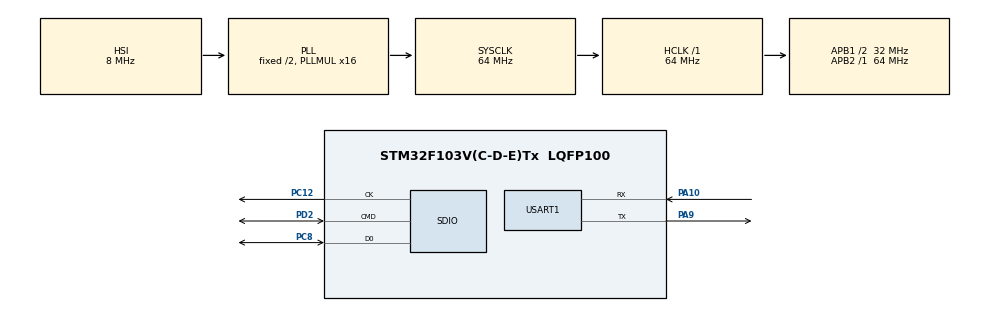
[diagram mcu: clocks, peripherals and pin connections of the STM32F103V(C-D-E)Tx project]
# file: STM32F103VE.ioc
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FREERTOS.Tasks01=defaultTask,0,128,StartDefaultTask,Default,NULL,Dynamic,NULL,NULL
FREERTOS.configTOTAL_HEAP_SIZE=61440
Mcu.Family=STM32F1
Mcu.Name=STM32F103V(C-D-E)Tx
Mcu.Package=LQFP100
NVIC.PriorityGroup=NVIC_PRIORITYGROUP_4
PA10.Mode=Asynchronous
PA10.Signal=USART1_RX
PA13.Mode=Serial_Wire
PA13.Signal=SYS_JTMS-SWDIO
PA14.Mode=Serial_Wire
PA14.Signal=SYS_JTCK-SWCLK
PA9.Mode=Asynchronous
PA9.Signal=USART1_TX
PC12.Mode=SD_1_bit
PC12.Signal=SDIO_CK
PC8.Mode=SD_1_bit
PC8.Signal=SDIO_D0
PD2.Mode=SD_1_bit
PD2.Signal=SDIO_CMD
ProjectManager.HeapSize=0x200
ProjectManager.StackSize=0x400
ProjectManager.TargetToolchain=MDK-ARM V5.32
RCC.AHBFreq_Value=64000000
RCC.APB1CLKDivider=RCC_HCLK_DIV2
RCC.APB1Freq_Value=32000000
RCC.APB1TimFreq_Value=64000000
RCC.APB2Freq_Value=64000000
RCC.APB2TimFreq_Value=64000000
RCC.HCLKFreq_Value=64000000
RCC.PLLMUL=RCC_PLL_MUL16
RCC.SYSCLKFreq_VALUE=64000000
RCC.SYSCLKSource=RCC_SYSCLKSOURCE_PLLCLK
RCC.USBFreq_Value=64000000
SDIO.ClockDiv=7
SDIO.ClockPowerSave=SDIO_CLOCK_POWER_SAVE_DISABLE
USART1.VirtualMode=VM_ASYNC
VP_CRC_VS_CRC.Mode=CRC_Activate
VP_FATFS_VS_SDIO.Mode=SDIO
VP_FREERTOS_VS_CMSIS_V1.Mode=CMSIS_V1
board=custom

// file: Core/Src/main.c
/* USER CODE BEGIN Header */
/**
  ******************************************************************************
  * @file           : main.c
  * @brief          : Main program body
  ******************************************************************************
  * @attention
  *
  * Copyright (c) 2023 STMicroelectronics.
  * All rights reserved.
  *
  * This software is licensed under terms that can be found in the LICENSE file
  * in the root directory of this software component.
  * If no LICENSE file comes with this software, it is provided AS-IS.
  *
  ******************************************************************************
  */
/* USER CODE END Header */
#include "main.h"
#include "cmsis_os.h"
#include "crc.h"
#include "fatfs.h"
#include "sdio.h"
#include "usart.h"
#include "gpio.h"

/* USER CODE BEGIN Includes */
#include "../common.h"
/* USER CODE END Includes */

void SystemClock_Config(void);
void MX_FREERTOS_Init(void);

int main(void)
{

  /* MCU Configuration--------------------------------------------------------*/

  /* Reset of all peripherals, Initializes the Flash interface and the Systick. */
  HAL_Init();

  /* Configure the system clock */
  SystemClock_Config();

  /* Initialize all configured peripherals */
  MX_GPIO_Init();
  MX_CRC_Init();
  MX_FATFS_Init();
  MX_SDIO_SD_Init();
  MX_USART1_UART_Init();

  /* Call init function for freertos objects (in freertos.c) */
  MX_FREERTOS_Init();

  /* Start scheduler */
  osKernelStart();

  /* We should never get here as control is now taken by the scheduler */
  /* Infinite loop */
  while (1)
  {

  }
}

void SystemClock_Config(void)
{
  RCC_OscInitTypeDef RCC_OscInitStruct = {0};
  RCC_ClkInitTypeDef RCC_ClkInitStruct = {0};

  /** Initializes the RCC Oscillators according to the specified parameters
  * in the RCC_OscInitTypeDef structure.
  */
  RCC_OscInitStruct.OscillatorType = RCC_OSCILLATORTYPE_HSI;
  RCC_OscInitStruct.HSIState = RCC_HSI_ON;
  RCC_OscInitStruct.HSICalibrationValue = RCC_HSICALIBRATION_DEFAULT;
  RCC_OscInitStruct.PLL.PLLState = RCC_PLL_ON;
  RCC_OscInitStruct.PLL.PLLSource = RCC_PLLSOURCE_HSI_DIV2;
  RCC_OscInitStruct.PLL.PLLMUL = RCC_PLL_MUL16;
  if (HAL_RCC_OscConfig(&RCC_OscInitStruct) != HAL_OK)
  {
    Error_Handler();
  }

  /** Initializes the CPU, AHB and APB buses clocks
  */
  RCC_ClkInitStruct.ClockType = RCC_CLOCKTYPE_HCLK|RCC_CLOCKTYPE_SYSCLK
                              |RCC_CLOCKTYPE_PCLK1|RCC_CLOCKTYPE_PCLK2;
  RCC_ClkInitStruct.SYSCLKSource = RCC_SYSCLKSOURCE_PLLCLK;
  RCC_ClkInitStruct.AHBCLKDivider = RCC_SYSCLK_DIV1;
  RCC_ClkInitStruct.APB1CLKDivider = RCC_HCLK_DIV2;
  RCC_ClkInitStruct.APB2CLKDivider = RCC_HCLK_DIV1;

  if (HAL_RCC_ClockConfig(&RCC_ClkInitStruct, FLASH_LATENCY_2) != HAL_OK)
  {
    Error_Handler();
  }
}

void Error_Handler(void)
{
  __disable_irq();
  while (1)
  {
  }
}

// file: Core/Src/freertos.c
/* USER CODE BEGIN Header */
/**
  ******************************************************************************
  * File Name          : freertos.c
  * Description        : Code for freertos applications
  ******************************************************************************
  * @attention
  *
  * Copyright (c) 2023 STMicroelectronics.
  * All rights reserved.
  *
  * This software is licensed under terms that can be found in the LICENSE file
  * in the root directory of this software component.
  * If no LICENSE file comes with this software, it is provided AS-IS.
  *
  ******************************************************************************
  */
/* USER CODE END Header */

#include "FreeRTOS.h"
#include "task.h"
#include "main.h"
#include "cmsis_os.h"

/* USER CODE BEGIN Includes */
#include "../common.h"
/* USER CODE END Includes */

/* USER CODE BEGIN PTD */
BYTE send_buf[512];
HAL_SD_CardInfoTypeDef SDCardInfo;
DRESULT ret;
/* USER CODE END PTD */

/* USER CODE BEGIN Variables */
TaskHandle_t myTestTaskHandle;
/* USER CODE END Variables */
osThreadId defaultTaskHandle;

/* USER CODE BEGIN FunctionPrototypes */
void printf_sdcard_info(HAL_SD_CardInfoTypeDef SDCardInfo) {
	uint64_t CardCap; //SD卡容量
	HAL_SD_CardCIDTypeDef SDCard_CID;
	HAL_SD_GetCardCID(&hsd,&SDCard_CID); //获取CID
	HAL_SD_GetCardInfo(&hsd,&SDCardInfo); //获取SD卡信息
	CardCap=(uint64_t)(SDCardInfo.LogBlockNbr)*(uint64_t)(SDCardInfo.LogBlockSize); //计算SD卡容量
	switch(SDCardInfo.CardType) {
		case CARD_SDSC:
		{
			if(SDCardInfo.CardVersion == CARD_V1_X)
				printf("Card Type:SDSC V1\r\n");
			else if(SDCardInfo.CardVersion == CARD_V2_X)
				printf("Card Type:SDSC V2\r\n");
		} break;
		case CARD_SDHC_SDXC:printf("Card Type:SDHC\r\n");
			break;
		default:break;
	}
	printf("Card ManufacturerID: %d \r\n",SDCard_CID.ManufacturerID); //制造商ID
	printf("CardVersion: %d \r\n",(uint32_t)(SDCardInfo.CardVersion)); //卡版本号
	printf("Class: %d \r\n",(uint32_t)(SDCardInfo.Class)); //SD卡类别
	printf("Card RCA(RelCardAdd):%d \r\n",SDCardInfo.RelCardAdd); //卡相对地址
	printf("Card BlockNbr: %d \r\n",SDCardInfo.BlockNbr); //块数量
	printf("Card BlockSize: %d \r\n",SDCardInfo.BlockSize); //块大小
	printf("LogBlockNbr: %d \r\n",(uint32_t)(SDCardInfo.LogBlockNbr)); //逻辑块数量
	printf("LogBlockSize: %d \r\n",(uint32_t)(SDCardInfo.LogBlockSize)); //逻辑块大小
	printf("Card Capacity: %d MB\r\n",(uint32_t)(CardCap>>20)); //卡容量
}

void myTestTaskFun(void const * argument);
/* USER CODE END FunctionPrototypes */

void StartDefaultTask(void const * argument);

void MX_FREERTOS_Init(void); /* (MISRA C 2004 rule 8.1) */

/* GetIdleTaskMemory prototype (linked to static allocation support) */
void vApplicationGetIdleTaskMemory( StaticTask_t **ppxIdleTaskTCBBuffer, StackType_t **ppxIdleTaskStackBuffer, uint32_t *pulIdleTaskStackSize );

/* USER CODE BEGIN GET_IDLE_TASK_MEMORY */
static StaticTask_t xIdleTaskTCBBuffer;
static StackType_t xIdleStack[configMINIMAL_STACK_SIZE];

void vApplicationGetIdleTaskMemory( StaticTask_t **ppxIdleTaskTCBBuffer, StackType_t **ppxIdleTaskStackBuffer, uint32_t *pulIdleTaskStackSize )
{
  *ppxIdleTaskTCBBuffer = &xIdleTaskTCBBuffer;
  *ppxIdleTaskStackBuffer = &xIdleStack[0];
  *pulIdleTaskStackSize = configMINIMAL_STACK_SIZE;
  /* place for user code */
}
/* USER CODE END GET_IDLE_TASK_MEMORY */

void MX_FREERTOS_Init(void) {

  /* Create the thread(s) */
  /* definition and creation of defaultTask */
//  osThreadDef(defaultTask, StartDefaultTask, osPriorityNormal, 0, 1024);
//  defaultTaskHandle = osThreadCreate(osThread(defaultTask), NULL);

  osThreadDef(myTestTask, myTestTaskFun, osPriorityNormal, 0, 128);
  myTestTaskHandle = osThreadCreate(osThread(myTestTask), NULL);

}

void StartDefaultTask(void const * argument)
{
  /* USER CODE BEGIN StartDefaultTask */
	printf("init...\r\n");

	SD_Driver.disk_initialize(0);
	printf_sdcard_info(SDCardInfo);
	printf("\r\n\r\n********** 英文读写测试 **********\r\n");
	ret = SD_Driver.disk_write(0, (BYTE *)"L is too short to spend 阿time",20,2);
	printf("sd write result:%d\r\n", ret);
	ret = SD_Driver.disk_read(0, send_buf, 20, 2);
	printf("sd reak result:%d\r\n", ret);
	printf("sd read content:\r\n%s\r\n", send_buf);
  /* Infinite loop */
  for(;;)
  {
	printf("test \r\n");
	osDelay(1000);
	printf("test ok\r\n");
//	printf("\r\n\r\n********** 中文读写测试 **********\r\n");
//	ret = SD_Driver.disk_write(0,(BYTE *)"1.wifi模块", 22, 2);
//	printf("sd write result:%d\r\n", ret);
//	ret = SD_Driver.disk_read(0, send_buf, 23, 2);
//	printf("sd reak result:%d\r\n", ret);
//	printf("sd read content:\r\n%s\r\n", send_buf);

  }
  /* USER CODE END StartDefaultTask */
}

/* USER CODE BEGIN Application */
void myTestTaskFun(void const * argument) {
	for(;;) {
		osDelay(2000);
		printf("...\r\n");
	}
}
/* USER CODE END Application */
